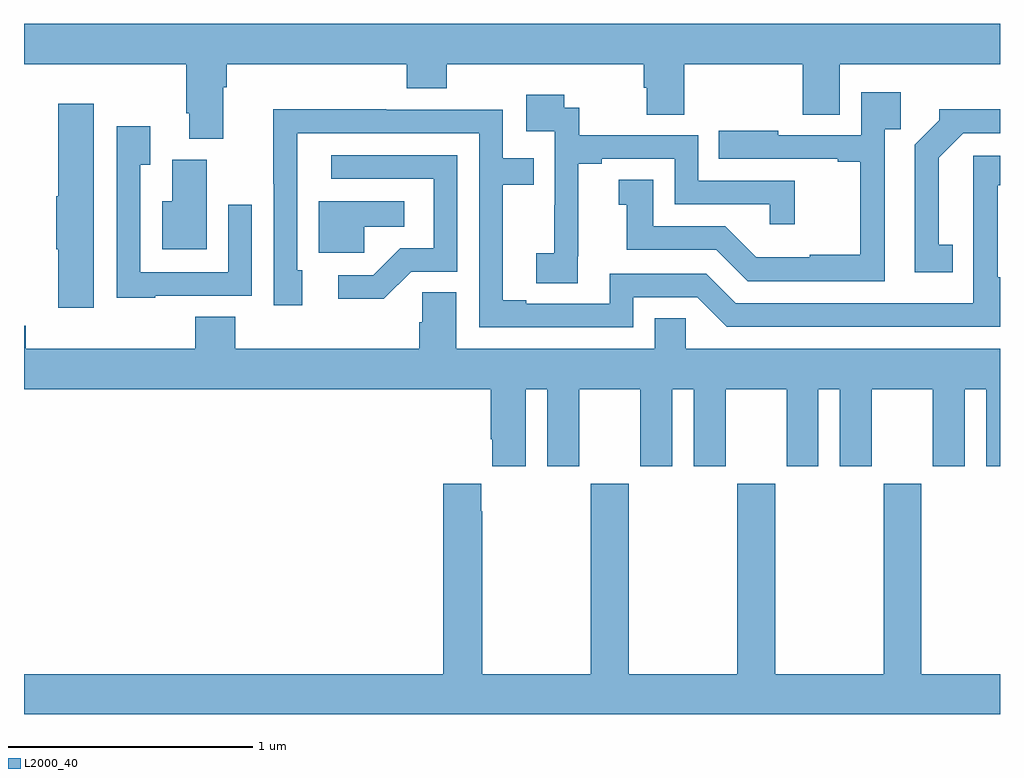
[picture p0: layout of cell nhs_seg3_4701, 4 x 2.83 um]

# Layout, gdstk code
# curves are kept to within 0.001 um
import gdstk
lib = gdstk.Library(unit=1e-6, precision=1e-09)
def P(c, l, *ps):  # polygons
    for p in ps: c.add(gdstk.Polygon(p, *l))
L2000_40 = (2000, 40)

nhs_seg3_4701 = lib.new_cell('nhs_seg3_4701')
P(nhs_seg3_4701, L2000_40, [(363.817,730.124),(363.83,730.124),(363.83,730.22),(364.568,730.22),(364.568,730.121),(364.733,730.121),(364.733,730.22),(365.54,730.22),(365.54,730.122),(365.552,730.122),(365.552,730.012),(365.705,730.012),(365.705,730.22),(366.191,730.22),(366.191,730.012),(366.343,730.012),(366.343,730.22),(367,730.22),(367,730.384),(363,730.384),(363,730.22),(363.665,730.22),(363.665,730.018),(363.677,730.018),(363.677,729.913),(363.817,729.913)],
  [(366.528,729.953),(366.593,729.953),(366.593,730.105),(366.432,730.105),(366.432,729.927),(366.091,729.927),(366.091,729.946),(365.848,729.946),(365.848,729.831),(366.335,729.831),(366.335,729.819),(366.427,729.819),(366.427,729.439),(366.221,729.439),(366.221,729.427),(366.002,729.427),(365.874,729.555),(365.578,729.555),(365.578,729.746),(365.438,729.746),(365.438,729.643),(365.471,729.643),(365.471,729.459),(365.838,729.459),(365.967,729.33),(366.528,729.33)],
  [(365.27,729.433),(365.272,729.433),(365.272,729.811),(365.368,729.811),(365.368,729.831),(365.667,729.831),(365.667,729.645),(366.057,729.645),(366.057,729.564),(366.158,729.564),(366.158,729.741),(365.763,729.741),(365.763,729.927),(365.276,729.927),(365.276,730.041),(365.214,730.041),(365.214,730.093),(365.058,730.093),(365.058,729.945),(365.175,729.945),(365.175,729.641),(365.174,729.641),(365.174,729.444),(365.1,729.444),(365.1,729.322),(365.27,729.322)],
  [(363.286,730.057),(363.14,730.057),(363.14,729.677),(363.133,729.677),(363.133,729.46),(363.14,729.46),(363.14,729.222),(363.286,729.222)],
  [(365.496,729.264),(365.76,729.264),(365.88,729.144),(367,729.144),(367,729.347),(366.99,729.347),(366.99,729.723),(367,729.723),(367,729.844),(366.89,729.844),(366.891,729.24),(365.916,729.24),(365.796,729.36),(365.4,729.36),(365.4,729.237),(365.059,729.237),(365.059,729.252),(364.963,729.252),(364.963,729.726),(365.09,729.726),(365.09,729.834),(364.962,729.834),(364.962,730.032),(364.484,730.032),(364.484,730.034),(364.022,730.034),(364.023,729.231),(364.141,729.231),(364.141,729.375),(364.119,729.375),(364.119,729.936),(364.866,729.936),(364.866,729.141),(365.496,729.141)],
  [(366.806,729.479),(366.748,729.479),(366.748,729.835),(366.849,729.936),(367,729.936),(367,730.034),(366.75,730.034),(366.75,729.989),(366.651,729.89),(366.651,729.366),(366.806,729.366)],
  [(363.537,729.27),(363.933,729.27),(363.933,729.643),(363.837,729.643),(363.837,729.366),(363.477,729.366),(363.477,729.808),(363.517,729.808),(363.517,729.964),(363.381,729.964),(363.381,729.263),(363.537,729.263)],
  [(364.587,729.369),(364.776,729.369),(364.776,729.846),(364.26,729.846),(364.26,729.75),(364.68,729.75),(364.68,729.465),(364.542,729.465),(364.431,729.354),(364.287,729.354),(364.287,729.257),(364.474,729.257)],
  [(363.748,729.828),(363.608,729.828),(363.608,729.658),(363.566,729.658),(363.566,729.461),(363.748,729.461)],
  [(364.395,729.554),(364.558,729.554),(364.558,729.658),(364.208,729.658),(364.208,729.447),(364.395,729.447)],
  [(365.056,728.888),(365.144,728.888),(365.144,728.571),(365.275,728.571),(365.275,728.888),(365.525,728.888),(365.525,728.571),(365.656,728.571),(365.656,728.888),(365.744,728.888),(365.744,728.571),(365.875,728.571),(365.875,728.888),(366.125,728.888),(366.125,728.571),(366.256,728.571),(366.256,728.888),(366.344,728.888),(366.344,728.571),(366.475,728.571),(366.475,728.888),(366.725,728.888),(366.725,728.571),(366.856,728.571),(366.856,728.888),(366.944,728.888),(366.944,728.571),(367,728.571),(367,729.052),(365.712,729.052),(365.712,729.179),(365.585,729.179),(365.585,729.052),(364.771,729.052),(364.771,729.284),(364.632,729.284),(364.632,729.161),(364.619,729.161),(364.619,729.052),(363.866,729.052),(363.866,729.185),(363.701,729.185),(363.701,729.052),(363.008,729.052),(363.008,729.148),(363,729.148),(363,728.888),(364.913,728.888),(364.913,728.683),(364.919,728.683),(364.919,728.571),(365.056,728.571)],
  [(367,727.72),(366.678,727.72),(366.678,728.5),(366.523,728.5),(366.523,727.72),(366.078,727.72),(366.078,728.5),(365.923,728.5),(365.923,727.72),(365.478,727.72),(365.478,728.5),(365.323,728.5),(365.323,727.72),(364.878,727.72),(364.878,728.387),(364.873,728.387),(364.873,728.5),(364.718,728.5),(364.718,727.72),(363,727.72),(363,727.556),(367,727.556)])

lib.write_gds('nhs_seg3_4701.gds')
